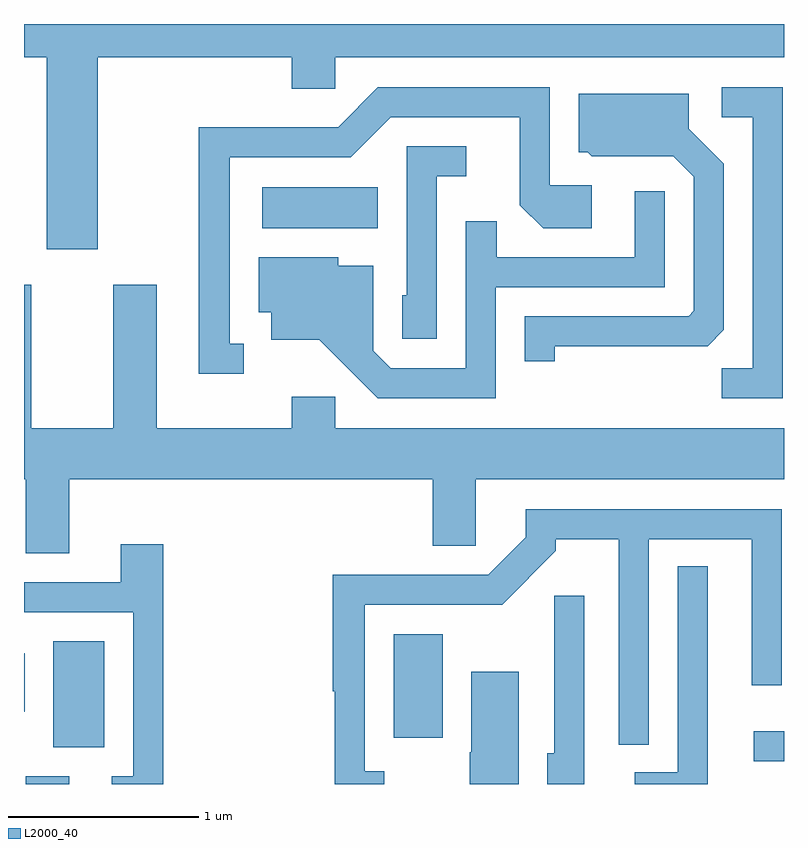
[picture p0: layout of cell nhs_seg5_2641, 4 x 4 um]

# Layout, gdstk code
import gdstk
lib = gdstk.Library(unit=1e-6, precision=1e-09)
def R(c, l, rs):  # rectangles x0, y0, x1, y1
    for r in rs: c.add(gdstk.rectangle(r[:2], r[2:], *l))
def P(c, l, *ps):  # polygons
    for p in ps: c.add(gdstk.Polygon(p, *l))
L2000_40 = (2000, 40)

nhs_seg5_2641 = lib.new_cell('nhs_seg5_2641')
R(nhs_seg5_2641, L2000_40, [(263.621,1464.072,263.849,1464.114), (267.453,1464.191,267.611,1464.349), (263.766,1464.266,264.034,1464.824), (265.556,1464.316,265.814,1464.859), (263.611,1464.451,263.614,1464.759), (264.866,1466.996,265.474,1467.214)])
P(nhs_seg5_2641, L2000_40, [(263.999,1467.896),(265.021,1467.896),(265.021,1467.731),(265.249,1467.731),(265.249,1467.896),(267.611,1467.896),(267.611,1468.072),(263.611,1468.072),(263.611,1467.896),(263.731,1467.896),(263.731,1466.886),(263.999,1466.886)],
  [(267.604,1467.739),(267.283,1467.739),(267.283,1467.581),(267.446,1467.581),(267.446,1466.259),(267.283,1466.259),(267.283,1466.101),(267.604,1466.101)],
  [(264.768,1466.389),(264.694,1466.389),(264.694,1467.371),(265.332,1467.371),(265.542,1467.581),(266.221,1467.581),(266.221,1467.119),(266.344,1466.996),(266.599,1466.996),(266.599,1467.224),(266.379,1467.224),(266.379,1467.739),(265.474,1467.739),(265.264,1467.529),(264.531,1467.529),(264.531,1466.231),(264.768,1466.231)],
  [(266.404,1466.376),(267.209,1466.376),(267.294,1466.462),(267.294,1467.337),(267.109,1467.522),(267.109,1467.704),(266.531,1467.704),(266.531,1467.396),(266.579,1467.396),(266.599,1467.376),(267.029,1467.376),(267.136,1467.269),(267.136,1466.562),(267.109,1466.534),(266.246,1466.534),(266.246,1466.298),(266.404,1466.298)],
  [(265.784,1467.271),(265.938,1467.271),(265.938,1467.429),(265.626,1467.429),(265.626,1466.644),(265.601,1466.644),(265.601,1466.416),(265.784,1466.416)],
  [(266.094,1466.686),(266.984,1466.686),(266.984,1467.193),(266.826,1467.193),(266.826,1466.844),(266.099,1466.844),(266.099,1467.033),(265.936,1467.033),(265.936,1466.259),(265.542,1466.259),(265.449,1466.352),(265.449,1466.799),(265.264,1466.799),(265.264,1466.844),(264.846,1466.844),(264.846,1466.556),(264.911,1466.556),(264.911,1466.411),(265.164,1466.411),(265.474,1466.101),(266.094,1466.101)],
  [(263.849,1465.676),(265.761,1465.676),(265.761,1465.326),(265.989,1465.326),(265.989,1465.676),(267.611,1465.676),(267.611,1465.944),(265.249,1465.944),(265.249,1466.109),(265.021,1466.109),(265.021,1465.944),(264.309,1465.944),(264.309,1466.699),(264.081,1466.699),(264.081,1465.944),(263.649,1465.944),(263.649,1466.699),(263.611,1466.699),(263.611,1465.676),(263.621,1465.676),(263.621,1465.286),(263.849,1465.286)],
  [(265.508,1464.139),(265.404,1464.139),(265.404,1465.016),(266.127,1465.016),(266.409,1465.299),(266.409,1465.361),(266.741,1465.361),(266.741,1464.278),(266.899,1464.278),(266.899,1465.361),(267.441,1465.361),(267.441,1464.593),(267.599,1464.593),(267.599,1465.519),(266.251,1465.519),(266.251,1465.372),(266.054,1465.174),(265.236,1465.174),(265.236,1464.56),(265.246,1464.56),(265.246,1464.072),(265.508,1464.072)],
  [(264.344,1465.334),(264.121,1465.334),(264.121,1465.134),(263.611,1465.134),(263.611,1464.976),(264.186,1464.976),(264.186,1464.114),(264.073,1464.114),(264.073,1464.072),(264.344,1464.072)],
  [(267.209,1465.218),(267.051,1465.218),(267.051,1464.134),(266.826,1464.134),(266.826,1464.072),(267.209,1464.072)],
  [(266.559,1465.063),(266.401,1465.063),(266.401,1464.234),(266.366,1464.234),(266.366,1464.072),(266.559,1464.072)],
  [(266.214,1464.664),(265.966,1464.664),(265.966,1464.24),(265.956,1464.24),(265.956,1464.072),(266.214,1464.072)])

lib.write_gds('nhs_seg5_2641.gds')
